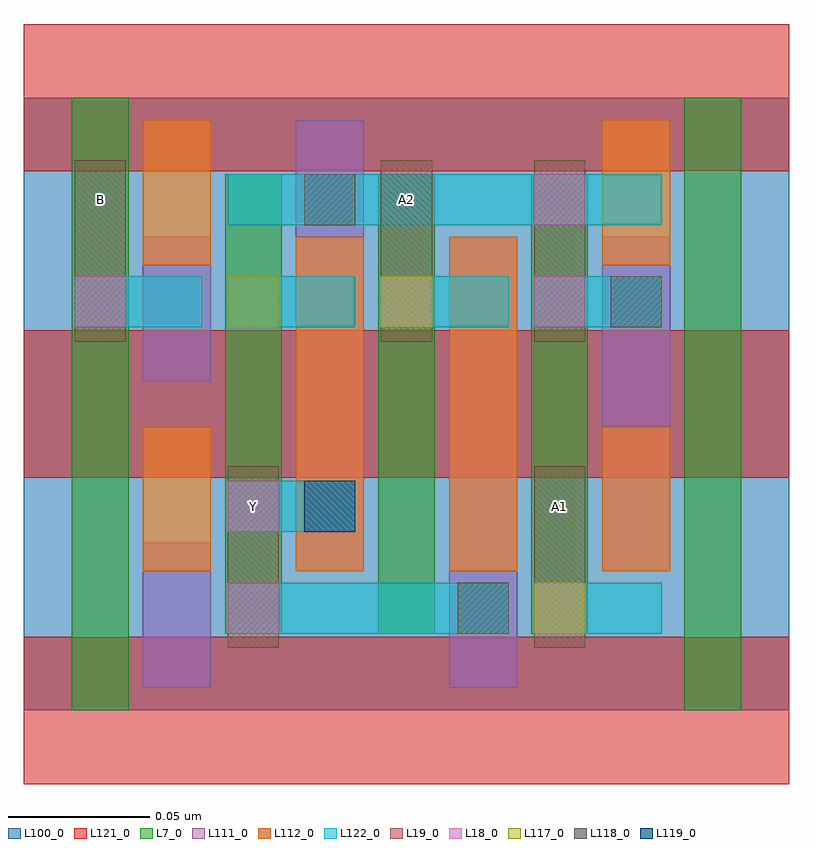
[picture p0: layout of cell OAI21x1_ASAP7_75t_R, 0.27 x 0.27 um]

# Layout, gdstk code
import gdstk
lib = gdstk.Library(unit=1e-6, precision=2.5e-10)
def R(c, l, rs):  # rectangles x0, y0, x1, y1
    for r in rs: c.add(gdstk.rectangle(r[:2], r[2:], *l))
def A(c, l, x, y, w, h, nx, ny, dx, dy):  # array of equal rectangles
    R(c, l, [(x+i*dx, y+j*dy, x+i*dx+w, y+j*dy+h) for i in range(nx) for j in range(ny)])
L7_0 = (7, 0)
L18_0 = (18, 0)
L19_0 = (19, 0)
L100_0 = (100, 0)
L111_0 = (111, 0)
L112_0 = (112, 0)
L117_0 = (117, 0)
L118_0 = (118, 0)
L119_0 = (119, 0)
L121_0 = (121, 0)
L122_0 = (122, 0)

oai21x1_asap7_75t_r = lib.new_cell('OAI21x1_ASAP7_75t_R')
A(oai21x1_asap7_75t_r, L7_0, 0.071, 0.027, 0.02, 0.081, 3, 2, 0.054, 0.081)
R(oai21x1_asap7_75t_r, L7_0, [(0.017,0,0.037,0.108), (0.233,0,0.253,0.108), (0.017,0.108,0.037,0.216), (0.233,0.108,0.253,0.216)])
R(oai21x1_asap7_75t_r, L18_0, [(0.072,0.027,0.09,0.045), (0.18,0.027,0.198,0.045), (0.072,0.063,0.09,0.081), (0.018,0.135,0.036,0.153), (0.126,0.135,0.144,0.153), (0.18,0.135,0.198,0.153), (0.18,0.171,0.198,0.189)])
R(oai21x1_asap7_75t_r, L19_0, [(0.072,0.022,0.09,0.086), (0.18,0.022,0.198,0.086), (0.018,0.13,0.036,0.194), (0.126,0.13,0.144,0.194), (0.18,0.13,0.198,0.194)])
R(oai21x1_asap7_75t_r, L100_0, [(0,0,0.27,0.216)])
R(oai21x1_asap7_75t_r, L111_0, [(0.042,0.008,0.066,0.059), (0.15,0.008,0.174,0.108), (0.096,0.049,0.12,0.108), (0.204,0.049,0.228,0.108), (0.096,0.108,0.12,0.208), (0.15,0.108,0.174,0.167), (0.204,0.108,0.228,0.167), (0.042,0.116,0.066,0.167)])
R(oai21x1_asap7_75t_r, L112_0, [(0.042,0.049,0.066,0.1), (0.096,0.049,0.12,0.108), (0.15,0.049,0.174,0.108), (0.204,0.049,0.228,0.1), (0.096,0.108,0.12,0.167), (0.15,0.108,0.174,0.167), (0.042,0.157,0.066,0.208), (0.204,0.157,0.228,0.208)])
R(oai21x1_asap7_75t_r, L117_0, [(0.18,0.027,0.198,0.045), (0.072,0.135,0.09,0.153), (0.126,0.135,0.144,0.153)])
R(oai21x1_asap7_75t_r, L118_0, [(0.153,0.027,0.171,0.045), (0.207,0.135,0.225,0.153), (0.099,0.171,0.117,0.189)])
R(oai21x1_asap7_75t_r, L119_0, [(0.099,0.063,0.117,0.081)])
A(oai21x1_asap7_75t_r, L121_0, 0, -0.026, 0.27, 0.052, 1, 3, 0, 0.108)
A(oai21x1_asap7_75t_r, L122_0, 0.018, 0.135, 0.045, 0.018, 4, 1, 0.054, 0)
R(oai21x1_asap7_75t_r, L122_0, [(0.072,0.027,0.171,0.045), (0.18,0.027,0.225,0.045), (0.072,0.063,0.117,0.081), (0.072,0.171,0.225,0.189)])
oai21x1_asap7_75t_r.add(gdstk.Label('Y', (0.081,0.072), layer=19, texttype=251))
oai21x1_asap7_75t_r.add(gdstk.Label('B', (0.027,0.18), layer=19, texttype=251))
oai21x1_asap7_75t_r.add(gdstk.Label('A2', (0.135,0.18), layer=19, texttype=251))
oai21x1_asap7_75t_r.add(gdstk.Label('A1', (0.189,0.072), layer=19, texttype=251))

lib.write_gds('OAI21x1_ASAP7_75t_R.gds')
